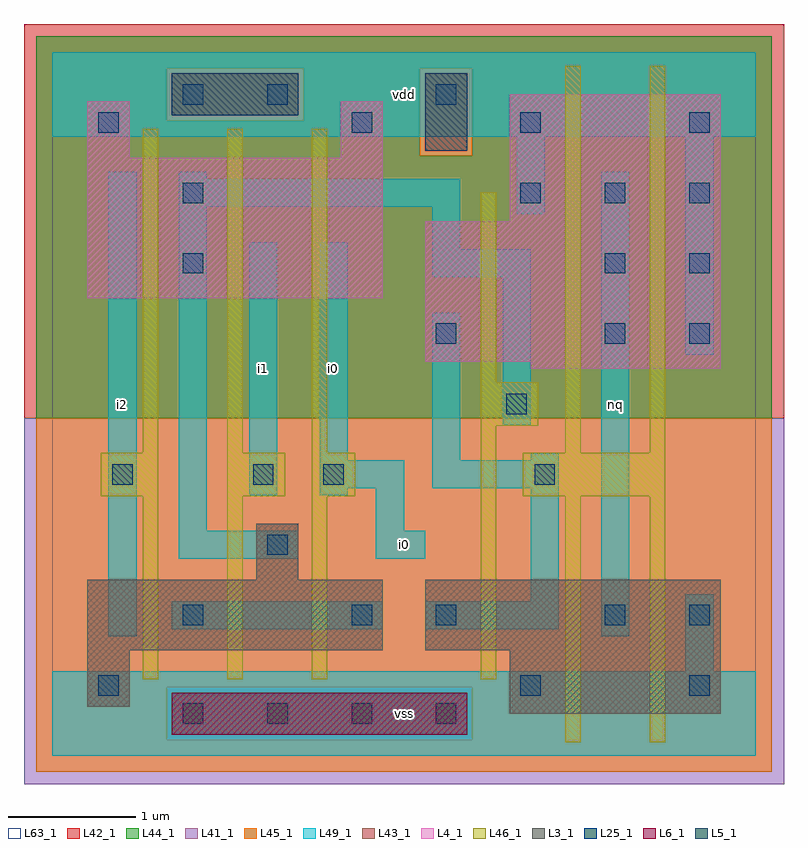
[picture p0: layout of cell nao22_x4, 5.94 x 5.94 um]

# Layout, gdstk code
import gdstk
lib = gdstk.Library(unit=1e-6, precision=1e-09)
def R(c, l, rs):  # rectangles x0, y0, x1, y1
    for r in rs: c.add(gdstk.rectangle(r[:2], r[2:], *l))
def A(c, l, x, y, w, h, nx, ny, dx, dy):  # array of equal rectangles
    R(c, l, [(x+i*dx, y+j*dy, x+i*dx+w, y+j*dy+h) for i in range(nx) for j in range(ny)])
L3_1 = (3, 1)
L4_1 = (4, 1)
L5_1 = (5, 1)
L6_1 = (6, 1)
L25_1 = (25, 1)
L41_1 = (41, 1)
L42_1 = (42, 1)
L43_1 = (43, 1)
L44_1 = (44, 1)
L45_1 = (45, 1)
L46_1 = (46, 1)
L49_1 = (49, 1)
L63_1 = (63, 1)

nao22_x4 = lib.new_cell('nao22_x4')
R(nao22_x4, L3_1, [(3.575,0.33,5.225,0.825), (0.275,0.385,0.605,0.825), (0.275,0.825,2.585,1.375), (2.915,0.825,5.225,1.375), (1.595,1.375,1.925,1.815)])
R(nao22_x4, L4_1, [(3.74,3.025,5.225,3.08), (2.915,3.08,5.225,4.18), (0.275,3.575,2.585,4.675), (3.575,4.18,5.225,5.17), (0.275,4.675,0.605,5.115), (2.255,4.675,2.585,5.115)])
R(nao22_x4, L5_1, [(2.915,4.73,3.245,5.335), (0.935,5.005,1.925,5.335)])
R(nao22_x4, L6_1, [(0.935,0.165,3.245,0.495)])
A(nao22_x4, L25_1, 1.02, 0.25, 0.16, 0.16, 4, 1, 0.66, 0)
A(nao22_x4, L25_1, 3.66, 4.32, 0.16, 0.16, 3, 1, 0.66, 0)
A(nao22_x4, L25_1, 2.34, 4.87, 0.16, 0.16, 3, 1, 1.32, 0)
R(nao22_x4, L25_1, [(0.36,0.47,0.52,0.63), (3.66,0.47,3.82,0.63), (4.98,0.47,5.14,0.63), (1.02,1.02,1.18,1.18), (2.34,1.02,2.5,1.18), (3,1.02,3.16,1.18), (4.32,1.02,4.48,1.18), (4.98,1.02,5.14,1.18), (1.68,1.57,1.84,1.73), (0.47,2.12,0.63,2.28), (1.57,2.12,1.73,2.28), (2.12,2.12,2.28,2.28), (3.77,2.12,3.93,2.28), (3.55,2.67,3.71,2.83), (3,3.22,3.16,3.38), (4.32,3.22,4.48,3.38), (4.98,3.22,5.14,3.38), (1.02,3.77,1.18,3.93), (4.32,3.77,4.48,3.93), (4.98,3.77,5.14,3.93), (1.02,4.32,1.18,4.48), (0.36,4.87,0.52,5.03), (1.02,5.09,1.18,5.25), (1.68,5.09,1.84,5.25), (3,5.09,3.16,5.25)])
R(nao22_x4, L41_1, [(-0.22,-0.22,5.72,2.64)])
R(nao22_x4, L42_1, [(-0.22,2.64,5.72,5.72)])
R(nao22_x4, L43_1, [(0.935,0.165,3.245,0.495), (3.575,0.33,5.225,0.825), (0.275,0.385,0.605,0.825), (0.275,0.825,2.585,1.375), (2.915,0.825,5.225,1.375), (1.595,1.375,1.925,1.815), (3.74,3.025,5.225,3.08), (2.915,3.08,5.225,4.18), (0.275,3.575,2.585,4.675), (3.575,4.18,5.225,5.17), (0.275,4.675,0.605,5.115), (2.255,4.675,2.585,5.115), (2.915,4.73,3.245,5.335), (0.935,5.005,1.925,5.335)])
R(nao22_x4, L44_1, [(0.895,0.125,3.285,0.535), (-0.125,2.64,5.625,4.69), (-0.125,4.69,2.875,4.965), (3.285,4.69,5.625,5.375), (-0.125,4.965,0.895,5.375), (1.965,4.965,2.875,5.375), (-0.125,5.375,5.625,5.625)])
R(nao22_x4, L45_1, [(-0.125,-0.125,5.625,0.125), (-0.125,0.125,0.895,0.535), (3.285,0.125,5.625,0.535), (-0.125,0.535,5.625,2.64), (2.875,4.69,3.285,5.375), (0.895,4.965,1.965,5.375)])
A(nao22_x4, L46_1, 0.71, 0.6, 0.12, 1.43, 3, 1, 0.66, 0)
A(nao22_x4, L46_1, 0.71, 2.37, 0.12, 2.53, 3, 1, 0.66, 0)
R(nao22_x4, L46_1, [(4.01,0.105,4.13,2.03), (4.67,0.105,4.79,2.03), (3.35,0.6,3.47,2.58), (0.38,2.03,0.83,2.37), (1.37,2.03,1.82,2.37), (2.03,2.03,2.37,2.37), (3.68,2.03,4.79,2.37), (4.01,2.37,4.13,5.395), (4.67,2.37,4.79,5.395), (3.35,2.58,3.8,2.92), (3.35,2.92,3.47,4.405)])
R(nao22_x4, L49_1, [(0,0,5.5,0.66), (4.95,0.66,5.17,1.265), (0.44,0.935,0.66,4.565), (4.29,0.935,4.51,4.565), (0.935,0.99,2.585,1.21), (2.915,0.99,3.96,1.21), (3.74,1.21,3.96,2.09), (0.99,1.54,1.925,1.76), (2.53,1.54,2.915,1.76), (0.99,1.76,1.21,4.29), (2.53,1.76,2.75,2.09), (1.54,2.035,1.76,4.015), (2.09,2.035,2.31,2.09), (2.09,2.09,2.75,2.31), (2.97,2.09,3.96,2.31), (2.09,2.31,2.31,4.015), (2.97,2.31,3.19,3.465), (3.74,2.31,3.96,2.365), (3.52,2.585,3.74,3.74), (4.95,3.135,5.17,4.84), (2.97,3.74,3.74,3.96), (2.97,3.96,3.19,4.29), (3.63,4.235,3.85,4.84), (0.99,4.29,3.19,4.51), (0.99,4.51,1.21,4.565), (0,4.84,5.5,5.5)])
R(nao22_x4, L63_1, [(0,0,5.5,5.5)])
nao22_x4.add(gdstk.Label('i2', (0.55,2.75), layer=49, texttype=1))
nao22_x4.add(gdstk.Label('i1', (1.65,3.025), layer=49, texttype=1))
nao22_x4.add(gdstk.Label('vss', (2.75,0.33), layer=49, texttype=1))
nao22_x4.add(gdstk.Label('i0', (2.75,1.65), layer=49, texttype=1))
nao22_x4.add(gdstk.Label('i0', (2.2,3.025), layer=49, texttype=1))
nao22_x4.add(gdstk.Label('vdd', (2.75,5.17), layer=49, texttype=1))
nao22_x4.add(gdstk.Label('nq', (4.4,2.75), layer=49, texttype=1))

lib.write_gds('nao22_x4.gds')
